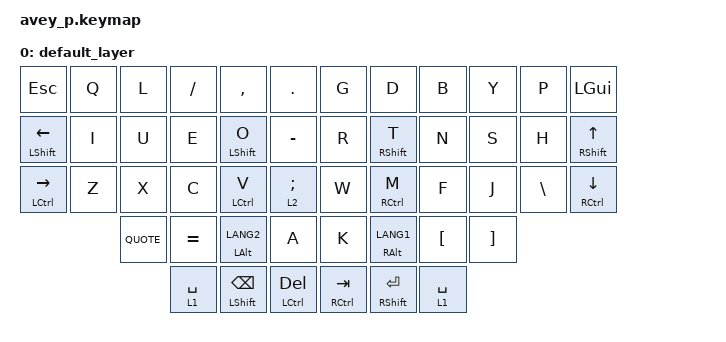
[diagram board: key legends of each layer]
/*
 * Copyright (c) 2020 The ZMK Contributors
 *
 * SPDX-License-Identifier: MIT
 */

#include <behaviors.dtsi>
#include <dt-bindings/zmk/keys.h>
#include <dt-bindings/zmk/bt.h>

/ {
    keymap {
        compatible = "zmk,keymap";

        default_layer {
// ------------------------------------------------------------------------------------------------------------
// |  ESC  |  1  |  2  |  3   |  4   |  5   |                   |  6   |  7    |  8    |  9   |   0   |   `   |
// |  TAB  |  Q  |  W  |  E   |  R   |  T   |                   |  Y   |  U    |  I    |  O   |   P   |   -   |
// |  CTRL |  A  |  S  |  D   |  F   |  G   |                   |  H   |  J    |  K    |  L   |   ;   |   '   |
// | SHIFT |  Z  |  X  |  C   |  V   |  B   |   "["  |  |  "]"  |  N   |  M    |  ,    |  .   |   /   | SHIFT |
//                     | ALT  | GUI  | LOWER|  SPACE |  | ENTER | RAISE| BSPC  | GUI   |
bindings = <
&kp ESC &kp Q &kp L &kp SLASH &kp COMMA &kp DOT &kp G &kp D &kp B &kp Y &kp P &kp LGUI
&mt LSHIFT LEFT &kp I &kp U &kp E &mt LSHIFT O &kp MINUS &kp R &mt RSHIFT T &kp N &kp S &kp H &mt RSHIFT UP
&mt LCTRL RIGHT &kp Z &kp X &kp C &mt LCTRL V &lt 2 SEMI &kp W &mt RCTRL M &kp F &kp J &kp BSLH &mt RCTRL DOWN
&kp QUOTE &kp EQUAL &mt LALT LANG2 &kp A &kp K &mt RALT LANG1 &kp LBKT &kp RBKT
&lt 1 SPACE &mt LSHIFT BSPC &mt LCTRL DEL &mt RCTRL TAB &mt RSHIFT ENTER &lt 1 SPACE

            >;
        };
    };
};
